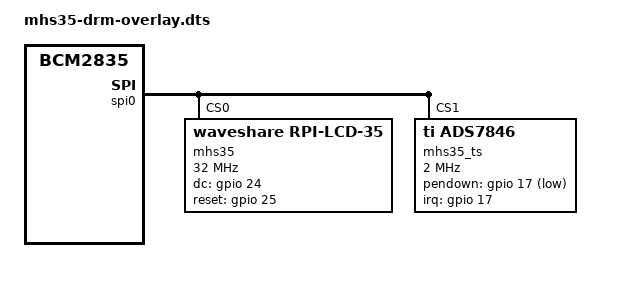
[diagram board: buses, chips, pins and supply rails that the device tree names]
// MHS-3.5inch RPi display (ILI9486 behind a 16-bit shift-register bridge)
// on the DRM tiny driver "ili9486" (compatible waveshare,rpi-lcd-35) instead of fbtft fb_ili9486.
// Pins from the vendor mhs35 overlay: DC=GPIO24, RESET=GPIO25, panel=spi0.0, touch=spi0.1, PENIRQ=GPIO17.
// rotation=180 matches fbtft rotate=90 on the vendor MHS board (ribbon at the top); override with rotation=.
/dts-v1/;
/plugin/;

/ {
	compatible = "brcm,bcm2835";

	fragment@0 {
		target = <&spi0>;
		__overlay__ {
			status = "okay";
			spidev@0 { status = "disabled"; };
			spidev@1 { status = "disabled"; };
		};
	};

	fragment@1 {
		target = <&gpio>;
		__overlay__ {
			mhs35_pins: mhs35_pins {
				brcm,pins = <17 25 24>;
				brcm,function = <0 0 0>;
			};
		};
	};

	fragment@2 {
		target = <&spi0>;
		__overlay__ {
			#address-cells = <1>;
			#size-cells = <0>;

			mhs35: mhs35@0 {
				compatible = "waveshare,rpi-lcd-35", "ilitek,ili9486";
				reg = <0>;
				pinctrl-names = "default";
				pinctrl-0 = <&mhs35_pins>;
				spi-max-frequency = <32000000>;
				dc-gpios = <&gpio 24 0>;
				reset-gpios = <&gpio 25 0>;
				rotation = <180>;
			};

			mhs35_ts: mhs35-ts@1 {
				compatible = "ti,ads7846";
				reg = <1>;
				spi-max-frequency = <2000000>;
				interrupts = <17 2>;
				interrupt-parent = <&gpio>;
				pendown-gpio = <&gpio 17 1>;
				ti,x-plate-ohms = /bits/ 16 <60>;
				ti,pressure-max = /bits/ 16 <255>;
			};
		};
	};

	__overrides__ {
		speed = <&mhs35>, "spi-max-frequency:0";
		rotation = <&mhs35>, "rotation:0";
	};
};
